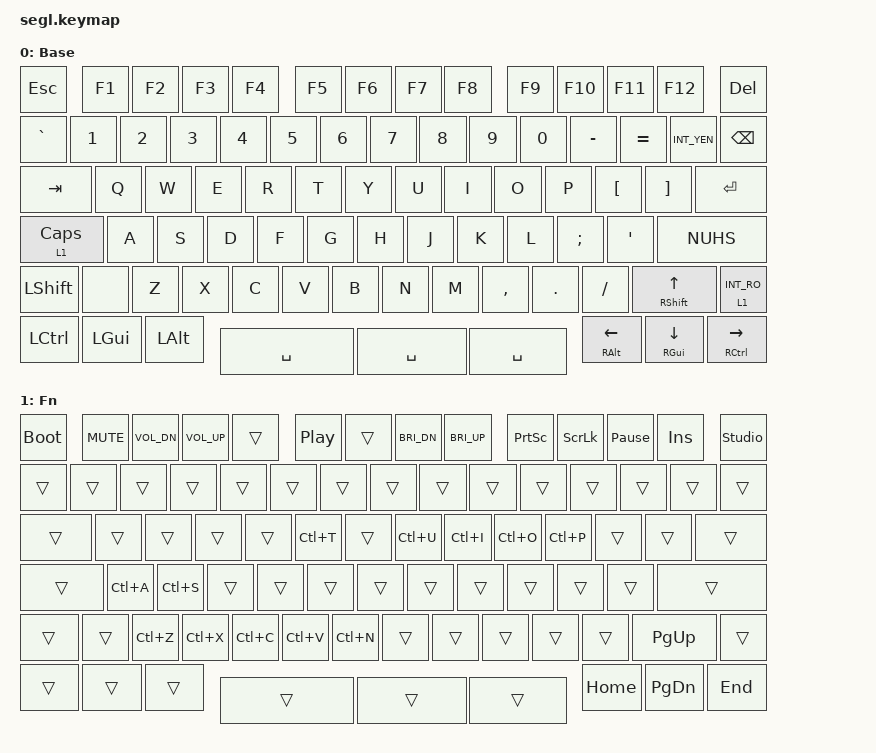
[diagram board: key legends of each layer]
/*
 * SPDX-License-Identifier: MIT
 */

#include <behaviors.dtsi>
#include <dt-bindings/zmk/bt.h>
#include <dt-bindings/zmk/keys.h>

#define _____ &trans
#define XXXXX &none

/ {
    keymap {
        compatible = "zmk,keymap";

        default_layer {
            display-name = "Base";
            bindings = <
                &kp ESC     &kp F1      &kp F2      &kp F3      &kp F4      &kp F5      &kp F6      &kp F7      &kp F8      &kp F9      &kp F10     &kp F11     &kp F12     &kp DELETE
                &kp GRAVE   &kp N1      &kp N2      &kp N3      &kp N4      &kp N5      &kp N6      &kp N7      &kp N8      &kp N9      &kp N0      &kp MINUS   &kp EQUAL   &kp INT_YEN  &kp BSPC
                &kp TAB     &kp Q       &kp W       &kp E       &kp R       &kp T       &kp Y       &kp U       &kp I       &kp O       &kp P       &kp LBKT    &kp RBKT    &kp RET
                &lt 1 CAPS  &kp A       &kp S       &kp D       &kp F       &kp G       &kp H       &kp J       &kp K       &kp L       &kp SEMI    &kp SQT     &kp NUHS
                &kp LSHFT   XXXXX       &kp Z       &kp X       &kp C       &kp V       &kp B       &kp N       &kp M       &kp COMMA   &kp DOT     &kp SLASH   &mt RSHFT UP_ARROW &lt 1 INT_RO
                &kp LCTRL   &kp LGUI    &kp LALT    &kp SPACE   &kp SPACE   &kp SPACE   &mt RALT LEFT_ARROW &mt RGUI DOWN_ARROW &mt RCTRL RIGHT_ARROW
            >;
        };

        function_layer {
            display-name = "Fn";
            bindings = <
                &bootloader  &kp C_MUTE  &kp C_VOL_DN &kp C_VOL_UP _____       &kp C_PP    _____       &kp C_BRI_DN &kp C_BRI_UP &kp PSCRN   &kp SLCK    &kp PAUSE_BREAK &kp INSERT &studio_unlock
                _____        _____       _____        _____        _____       _____       _____       _____        _____        _____      _____      _____        _____      _____      _____
                _____        _____       _____        _____        _____       &kp LC(T)   _____       &kp LC(U)    &kp LC(I)    &kp LC(O)  &kp LC(P)  _____        _____      _____
                _____        &kp LC(A)   &kp LC(S)    _____        _____       _____       _____       _____        _____        _____      _____      _____        _____
                _____        _____       &kp LC(Z)    &kp LC(X)    &kp LC(C)   &kp LC(V)   &kp LC(N)   _____        _____        _____      _____      _____        &kp PAGE_UP _____
                _____        _____       _____        _____        _____       _____       &kp HOME     &kp PAGE_DOWN &kp END
            >;
        };

        extra_1 {
            status = "reserved";
        };

        extra_2 {
            status = "reserved";
        };
    };
};
